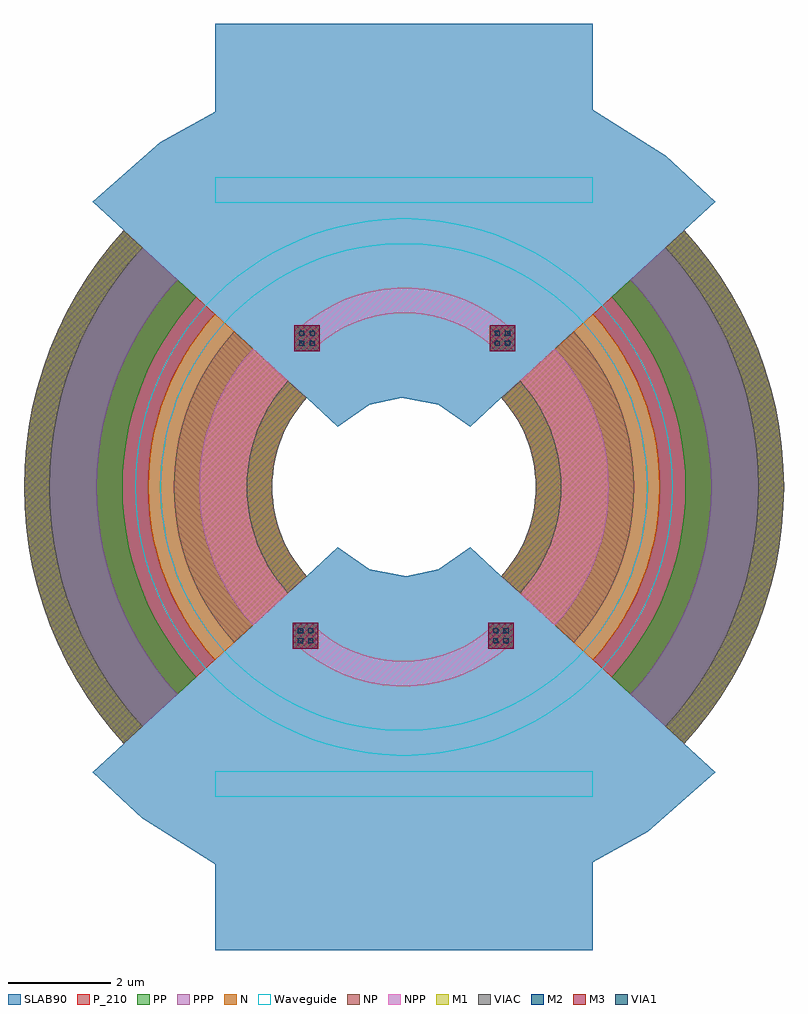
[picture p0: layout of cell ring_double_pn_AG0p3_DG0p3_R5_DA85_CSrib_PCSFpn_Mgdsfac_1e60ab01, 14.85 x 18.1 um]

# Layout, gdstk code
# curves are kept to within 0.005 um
import gdstk
lib = gdstk.Library(unit=1e-6, precision=1e-09)
def R(c, l, rs):  # rectangles x0, y0, x1, y1
    for r in rs: c.add(gdstk.rectangle(r[:2], r[2:], *l))
def P(c, l, *ps):  # polygons
    for p in ps: c.add(gdstk.Polygon(p, *l))
Waveguide = (1, 0)
SLAB90 = (3, 0)
N = (20, 0)
P_210 = (21, 0)
NP = (22, 0)
PP = (23, 0)
NPP = (24, 0)
PPP = (25, 0)
VIAC = (40, 0)
M1 = (41, 0)
VIA1 = (44, 0)
M2 = (45, 0)
M3 = (49, 0)

ring_double_pn_ag0p3_dg0 = lib.new_cell('ring_double_pn_AG0p3_DG0p3_R5_DA85_CSrib_PCSFpn_Mgdsfac_1e60ab01')
R(ring_double_pn_ag0p3_dg0, Waveguide, [(-3.687,-6.05,3.686,-5.55), (-3.687,5.55,3.686,6.05)])
P(ring_double_pn_ag0p3_dg0, Waveguide, [(-0.14,-5.248),(-0.421,-5.233),(-0.7,-5.203),(-0.977,-5.158),(-1.251,-5.099),(-1.522,-5.025),(-1.789,-4.936),(-2.05,-4.833),(-2.305,-4.717),(-2.554,-4.587),(-2.796,-4.444),(-3.029,-4.288),(-3.254,-4.12),(-3.47,-3.94),(-3.676,-3.749),(-3.871,-3.547),(-4.053,-3.337),(-4.224,-3.118),(-4.383,-2.89),(-4.53,-2.653),(-4.664,-2.41),(-4.785,-2.159),(-4.893,-1.903),(-4.987,-1.641),(-5.067,-1.375),(-5.133,-1.104),(-5.184,-0.831),(-5.221,-0.555),(-5.243,-0.278),(-5.25,0),(-5.243,0.278),(-5.221,0.555),(-5.184,0.831),(-5.133,1.104),(-5.067,1.375),(-4.987,1.641),(-4.893,1.903),(-4.785,2.159),(-4.664,2.41),(-4.53,2.653),(-4.383,2.89),(-4.224,3.118),(-4.053,3.337),(-3.871,3.547),(-3.676,3.749),(-3.47,3.94),(-3.254,4.12),(-3.029,4.288),(-2.796,4.444),(-2.554,4.587),(-2.237,4.748),(-0.127,4.748),(-0.381,4.735),(-0.633,4.708),(-0.884,4.667),(-1.132,4.613),(-1.377,4.546),(-1.618,4.466),(-1.855,4.373),(-2.086,4.267),(-2.311,4.15),(-2.53,4.02),(-2.741,3.879),(-2.944,3.727),(-3.139,3.565),(-3.325,3.392),(-3.502,3.209),(-3.667,3.019),(-3.822,2.821),(-3.966,2.614),(-4.099,2.401),(-4.22,2.18),(-4.33,1.954),(-4.427,1.722),(-4.512,1.485),(-4.584,1.244),(-4.644,0.999),(-4.69,0.752),(-4.723,0.502),(-4.743,0.252),(-4.75,0),(-4.743,-0.252),(-4.723,-0.502),(-4.69,-0.752),(-4.644,-0.999),(-4.584,-1.244),(-4.512,-1.485),(-4.427,-1.722),(-4.33,-1.954),(-4.22,-2.18),(-4.099,-2.401),(-3.966,-2.614),(-3.822,-2.821),(-3.667,-3.019),(-3.502,-3.209),(-3.325,-3.392),(-3.139,-3.565),(-2.944,-3.727),(-2.741,-3.879),(-2.53,-4.02),(-2.311,-4.15),(-2.086,-4.267),(-1.855,-4.373),(-1.618,-4.466),(-1.377,-4.546),(-1.132,-4.613),(-0.884,-4.667),(-0.633,-4.708),(-0.381,-4.735),(-0.127,-4.748),(0.127,-4.748),(0.381,-4.735),(0.633,-4.708),(0.884,-4.667),(1.132,-4.613),(1.377,-4.546),(1.618,-4.466),(1.855,-4.373),(2.086,-4.267),(2.311,-4.15),(2.53,-4.02),(2.741,-3.879),(2.944,-3.727),(3.139,-3.565),(3.325,-3.392),(3.502,-3.209),(3.667,-3.019),(3.822,-2.821),(3.966,-2.614),(4.099,-2.401),(4.22,-2.18),(4.33,-1.954),(4.427,-1.722),(4.512,-1.485),(4.584,-1.244),(4.644,-0.999),(4.69,-0.752),(4.723,-0.502),(4.743,-0.252),(4.75,0),(4.743,0.252),(4.723,0.502),(4.69,0.752),(4.644,0.999),(4.584,1.244),(4.512,1.485),(4.427,1.722),(4.33,1.954),(4.22,2.18),(4.099,2.401),(3.966,2.614),(3.822,2.821),(3.667,3.019),(3.502,3.209),(3.325,3.392),(3.139,3.565),(2.944,3.727),(2.741,3.879),(2.53,4.02),(2.311,4.15),(2.086,4.267),(1.855,4.373),(1.618,4.466),(1.377,4.546),(1.132,4.613),(0.884,4.667),(0.633,4.708),(0.381,4.735),(0.127,4.748),(-2.237,4.748),(-2.05,4.833),(-1.789,4.936),(-1.522,5.025),(-1.251,5.099),(-0.977,5.158),(-0.7,5.203),(-0.421,5.233),(-0.14,5.248),(0.14,5.248),(0.421,5.233),(0.7,5.203),(0.977,5.158),(1.251,5.099),(1.522,5.025),(1.789,4.936),(2.05,4.833),(2.305,4.717),(2.554,4.587),(2.796,4.444),(3.029,4.288),(3.254,4.12),(3.47,3.94),(3.676,3.749),(3.871,3.547),(4.053,3.337),(4.224,3.118),(4.383,2.89),(4.53,2.653),(4.664,2.41),(4.785,2.159),(4.893,1.903),(4.987,1.641),(5.067,1.375),(5.133,1.104),(5.184,0.831),(5.221,0.555),(5.243,0.278),(5.25,0),(5.243,-0.278),(5.221,-0.555),(5.184,-0.831),(5.133,-1.104),(5.067,-1.375),(4.987,-1.641),(4.893,-1.903),(4.785,-2.159),(4.664,-2.41),(4.53,-2.653),(4.383,-2.89),(4.224,-3.118),(4.053,-3.337),(3.871,-3.547),(3.676,-3.749),(3.47,-3.94),(3.254,-4.12),(3.029,-4.288),(2.796,-4.444),(2.554,-4.587),(2.305,-4.717),(2.05,-4.833),(1.789,-4.936),(1.522,-5.025),(1.251,-5.099),(0.977,-5.158),(0.7,-5.203),(0.421,-5.233),(0.14,-5.248)])
P(ring_double_pn_ag0p3_dg0, SLAB90, [(-3.687,-9.05),(-3.687,-7.373),(-5.115,-6.475),(-6.083,-5.574),(-5.474,-5.016),(-5.733,-4.72),(-5.975,-4.41),(-6.2,-4.087),(-6.408,-3.753),(-6.597,-3.408),(-6.769,-3.054),(-6.921,-2.691),(-7.054,-2.321),(-7.167,-1.944),(-7.26,-1.562),(-7.332,-1.175),(-7.384,-0.785),(-7.415,-0.393),(-7.426,0),(-7.415,0.393),(-7.384,0.785),(-7.332,1.175),(-7.26,1.562),(-7.215,1.748),(-0.047,1.748),(-0.683,1.61),(-1.29,1.182),(-1.898,1.74),(-2.071,1.529),(-2.149,1.417),(-2.287,1.181),(-2.399,0.933),(-2.445,0.805),(-2.517,0.541),(-2.542,0.407),(-2.571,0.136),(-2.571,-0.136),(-2.56,-0.272),(-2.517,-0.541),(-2.484,-0.674),(-2.445,-0.805),(-2.346,-1.059),(-2.221,-1.301),(-2.149,-1.417),(-2.071,-1.529),(-1.898,-1.74),(-1.29,-1.182),(-0.683,-1.61),(0.047,-1.748),(0.683,-1.61),(1.29,-1.182),(1.898,-1.74),(2.071,-1.529),(2.221,-1.301),(2.346,-1.059),(2.445,-0.805),(2.517,-0.541),(2.542,-0.407),(2.571,-0.136),(2.571,0.136),(2.542,0.407),(2.517,0.541),(2.445,0.805),(2.346,1.059),(2.221,1.301),(2.149,1.417),(2.071,1.529),(1.898,1.74),(1.29,1.182),(0.683,1.61),(-0.047,1.748),(-7.215,1.748),(-7.167,1.944),(-7.054,2.321),(-6.921,2.691),(-6.769,3.054),(-6.597,3.408),(-6.408,3.753),(-6.2,4.087),(-5.975,4.41),(-5.733,4.72),(-5.474,5.016),(-6.083,5.574),(-4.761,6.739),(-3.687,7.337),(-3.687,9.05),(3.686,9.05),(3.686,7.373),(5.115,6.475),(6.083,5.574),(5.474,5.016),(5.733,4.72),(5.975,4.41),(6.2,4.087),(6.408,3.753),(6.597,3.408),(6.769,3.054),(6.921,2.691),(7.054,2.321),(7.167,1.944),(7.26,1.562),(7.332,1.175),(7.384,0.785),(7.415,0.393),(7.426,0),(7.415,-0.393),(7.384,-0.785),(7.332,-1.175),(7.26,-1.562),(7.167,-1.944),(7.054,-2.321),(6.921,-2.691),(6.769,-3.054),(6.597,-3.408),(6.408,-3.753),(6.2,-4.087),(5.975,-4.41),(5.733,-4.72),(5.474,-5.016),(6.083,-5.574),(4.761,-6.739),(3.686,-7.338),(3.686,-9.05)])
P(ring_double_pn_ag0p3_dg0, N, [(-3.686,-3.378),(-3.86,-3.178),(-4.023,-2.969),(-4.175,-2.752),(-4.314,-2.527),(-4.442,-2.295),(-4.558,-2.056),(-4.66,-1.812),(-4.749,-1.563),(-4.826,-1.309),(-4.888,-1.052),(-4.937,-0.791),(-4.972,-0.529),(-4.993,-0.265),(-5,0),(-4.993,0.265),(-4.972,0.529),(-4.937,0.791),(-4.888,1.052),(-4.826,1.309),(-4.749,1.563),(-4.66,1.812),(-4.558,2.056),(-4.442,2.295),(-4.314,2.527),(-4.175,2.752),(-4.023,2.969),(-3.86,3.178),(-3.686,3.378),(-1.898,1.74),(-2.071,1.529),(-2.149,1.417),(-2.287,1.181),(-2.399,0.933),(-2.445,0.805),(-2.517,0.541),(-2.56,0.272),(-2.574,0),(-2.56,-0.272),(-2.517,-0.541),(-2.445,-0.805),(-2.399,-0.933),(-2.287,-1.181),(-2.149,-1.417),(-2.071,-1.529),(-1.898,-1.74)],
  [(3.686,-3.378),(1.898,-1.74),(2.071,-1.529),(2.149,-1.417),(2.287,-1.181),(2.399,-0.933),(2.445,-0.805),(2.517,-0.541),(2.56,-0.272),(2.574,0),(2.56,0.272),(2.517,0.541),(2.445,0.805),(2.399,0.933),(2.287,1.181),(2.149,1.417),(2.071,1.529),(1.898,1.74),(3.686,3.378),(3.86,3.178),(4.023,2.969),(4.175,2.752),(4.314,2.527),(4.442,2.295),(4.558,2.056),(4.66,1.812),(4.749,1.563),(4.826,1.309),(4.888,1.052),(4.937,0.791),(4.972,0.529),(4.993,0.265),(5,0),(4.993,-0.265),(4.972,-0.529),(4.937,-0.791),(4.888,-1.052),(4.826,-1.309),(4.749,-1.563),(4.66,-1.812),(4.558,-2.056),(4.442,-2.295),(4.314,-2.527),(4.175,-2.752),(4.023,-2.969),(3.86,-3.178)])
P(ring_double_pn_ag0p3_dg0, P_210, [(-5.474,-5.016),(-5.733,-4.72),(-5.975,-4.41),(-6.2,-4.087),(-6.408,-3.753),(-6.597,-3.408),(-6.769,-3.054),(-6.921,-2.691),(-7.054,-2.321),(-7.167,-1.944),(-7.26,-1.562),(-7.332,-1.175),(-7.384,-0.785),(-7.415,-0.393),(-7.426,0),(-7.415,0.393),(-7.384,0.785),(-7.332,1.175),(-7.26,1.562),(-7.167,1.944),(-7.054,2.321),(-6.921,2.691),(-6.769,3.054),(-6.597,3.408),(-6.408,3.753),(-6.2,4.087),(-5.975,4.41),(-5.733,4.72),(-5.474,5.016),(-3.686,3.378),(-3.86,3.178),(-4.023,2.969),(-4.175,2.752),(-4.314,2.527),(-4.442,2.295),(-4.558,2.056),(-4.66,1.812),(-4.749,1.563),(-4.826,1.309),(-4.888,1.052),(-4.937,0.791),(-4.972,0.529),(-4.993,0.265),(-5,0),(-4.993,-0.265),(-4.972,-0.529),(-4.937,-0.791),(-4.888,-1.052),(-4.826,-1.309),(-4.749,-1.563),(-4.66,-1.812),(-4.558,-2.056),(-4.442,-2.295),(-4.314,-2.527),(-4.175,-2.752),(-4.023,-2.969),(-3.86,-3.178),(-3.686,-3.378)],
  [(5.474,-5.016),(3.686,-3.378),(3.86,-3.178),(4.023,-2.969),(4.175,-2.752),(4.314,-2.527),(4.442,-2.295),(4.558,-2.056),(4.66,-1.812),(4.749,-1.563),(4.826,-1.309),(4.888,-1.052),(4.937,-0.791),(4.972,-0.529),(4.993,-0.265),(5,0),(4.993,0.265),(4.972,0.529),(4.937,0.791),(4.888,1.052),(4.826,1.309),(4.749,1.563),(4.66,1.812),(4.558,2.056),(4.442,2.295),(4.314,2.527),(4.175,2.752),(4.023,2.969),(3.86,3.178),(3.686,3.378),(5.474,5.016),(5.733,4.72),(5.975,4.41),(6.2,4.087),(6.408,3.753),(6.597,3.408),(6.769,3.054),(6.921,2.691),(7.054,2.321),(7.167,1.944),(7.26,1.562),(7.332,1.175),(7.384,0.785),(7.415,0.393),(7.426,0),(7.415,-0.393),(7.384,-0.785),(7.332,-1.175),(7.26,-1.562),(7.167,-1.944),(7.054,-2.321),(6.921,-2.691),(6.769,-3.054),(6.597,-3.408),(6.408,-3.753),(6.2,-4.087),(5.975,-4.41),(5.733,-4.72)])
P(ring_double_pn_ag0p3_dg0, NP, [(-3.318,-3.04),(-3.474,-2.86),(-3.621,-2.672),(-3.757,-2.477),(-3.883,-2.274),(-3.998,-2.065),(-4.102,-1.851),(-4.194,-1.631),(-4.274,-1.407),(-4.343,-1.178),(-4.399,-0.947),(-4.443,-0.712),(-4.475,-0.476),(-4.494,-0.238),(-4.5,0),(-4.494,0.238),(-4.475,0.476),(-4.443,0.712),(-4.399,0.947),(-4.343,1.178),(-4.274,1.407),(-4.194,1.631),(-4.102,1.851),(-3.998,2.065),(-3.883,2.274),(-3.757,2.477),(-3.621,2.672),(-3.474,2.86),(-3.318,3.04),(-1.898,1.74),(-2.071,1.529),(-2.149,1.417),(-2.287,1.181),(-2.399,0.933),(-2.445,0.805),(-2.517,0.541),(-2.56,0.272),(-2.574,0),(-2.56,-0.272),(-2.517,-0.541),(-2.445,-0.805),(-2.399,-0.933),(-2.287,-1.181),(-2.149,-1.417),(-2.071,-1.529),(-1.898,-1.74)],
  [(3.318,-3.04),(1.898,-1.74),(2.071,-1.529),(2.149,-1.417),(2.287,-1.181),(2.399,-0.933),(2.445,-0.805),(2.517,-0.541),(2.56,-0.272),(2.574,0),(2.56,0.272),(2.517,0.541),(2.445,0.805),(2.399,0.933),(2.287,1.181),(2.149,1.417),(2.071,1.529),(1.898,1.74),(3.318,3.04),(3.474,2.86),(3.621,2.672),(3.757,2.477),(3.883,2.274),(3.998,2.065),(4.102,1.851),(4.194,1.631),(4.274,1.407),(4.343,1.178),(4.399,0.947),(4.443,0.712),(4.475,0.476),(4.494,0.238),(4.5,0),(4.494,-0.238),(4.475,-0.476),(4.443,-0.712),(4.399,-0.947),(4.343,-1.178),(4.274,-1.407),(4.194,-1.631),(4.102,-1.851),(3.998,-2.065),(3.883,-2.274),(3.757,-2.477),(3.621,-2.672),(3.474,-2.86)])
P(ring_double_pn_ag0p3_dg0, PP, [(-5.474,-5.016),(-5.733,-4.72),(-5.975,-4.41),(-6.2,-4.087),(-6.408,-3.753),(-6.597,-3.408),(-6.769,-3.054),(-6.921,-2.691),(-7.054,-2.321),(-7.167,-1.944),(-7.26,-1.562),(-7.332,-1.175),(-7.384,-0.785),(-7.415,-0.393),(-7.426,0),(-7.415,0.393),(-7.384,0.785),(-7.332,1.175),(-7.26,1.562),(-7.167,1.944),(-7.054,2.321),(-6.921,2.691),(-6.769,3.054),(-6.597,3.408),(-6.408,3.753),(-6.2,4.087),(-5.975,4.41),(-5.733,4.72),(-5.474,5.016),(-4.055,3.716),(-4.246,3.496),(-4.425,3.266),(-4.592,3.027),(-4.746,2.78),(-4.887,2.524),(-5.013,2.262),(-5.126,1.993),(-5.225,1.719),(-5.308,1.44),(-5.377,1.157),(-5.431,0.871),(-5.469,0.582),(-5.492,0.291),(-5.5,0),(-5.492,-0.291),(-5.469,-0.582),(-5.431,-0.871),(-5.377,-1.157),(-5.308,-1.44),(-5.225,-1.719),(-5.126,-1.993),(-5.013,-2.262),(-4.887,-2.524),(-4.746,-2.78),(-4.592,-3.027),(-4.425,-3.266),(-4.246,-3.496),(-4.055,-3.716)],
  [(5.474,-5.016),(4.055,-3.716),(4.246,-3.496),(4.425,-3.266),(4.592,-3.027),(4.746,-2.78),(4.887,-2.524),(5.013,-2.262),(5.126,-1.993),(5.225,-1.719),(5.308,-1.44),(5.377,-1.157),(5.431,-0.871),(5.469,-0.582),(5.492,-0.291),(5.5,0),(5.492,0.291),(5.469,0.582),(5.431,0.871),(5.377,1.157),(5.308,1.44),(5.225,1.719),(5.126,1.993),(5.013,2.262),(4.887,2.524),(4.746,2.78),(4.592,3.027),(4.425,3.266),(4.246,3.496),(4.055,3.716),(5.474,5.016),(5.733,4.72),(5.975,4.41),(6.2,4.087),(6.408,3.753),(6.597,3.408),(6.769,3.054),(6.921,2.691),(7.054,2.321),(7.167,1.944),(7.26,1.562),(7.332,1.175),(7.384,0.785),(7.415,0.393),(7.426,0),(7.415,-0.393),(7.384,-0.785),(7.332,-1.175),(7.26,-1.562),(7.167,-1.944),(7.054,-2.321),(6.921,-2.691),(6.769,-3.054),(6.597,-3.408),(6.408,-3.753),(6.2,-4.087),(5.975,-4.41),(5.733,-4.72)])
P(ring_double_pn_ag0p3_dg0, NPP, [(-0.149,-3.897),(-0.416,-3.873),(-0.68,-3.827),(-0.939,-3.757),(-1.191,-3.666),(-1.434,-3.552),(-1.667,-3.418),(-1.887,-3.264),(-2.092,-3.091),(-1.754,-2.723),(-1.582,-2.867),(-1.398,-2.996),(-1.204,-3.108),(-0.999,-3.203),(-0.789,-3.28),(-0.572,-3.338),(-0.35,-3.377),(-0.127,-3.396),(0.098,-3.397),(0.321,-3.377),(0.543,-3.338),(0.76,-3.28),(0.971,-3.203),(1.174,-3.108),(1.369,-2.995),(1.553,-2.867),(1.725,-2.722),(2.063,-3.091),(1.858,-3.264),(1.637,-3.418),(1.406,-3.552),(1.162,-3.666),(0.91,-3.757),(0.651,-3.827),(0.387,-3.873),(0.12,-3.897)],
  [(-2.949,-2.702),(-3.088,-2.542),(-3.218,-2.375),(-3.339,-2.201),(-3.451,-2.021),(-3.553,-1.836),(-3.646,-1.645),(-3.728,-1.45),(-3.799,-1.25),(-3.86,-1.047),(-3.91,-0.841),(-3.949,-0.633),(-3.977,-0.423),(-3.994,-0.212),(-4,0),(-3.994,0.212),(-3.977,0.423),(-3.949,0.633),(-3.91,0.841),(-3.86,1.047),(-3.799,1.25),(-3.728,1.45),(-3.646,1.645),(-3.553,1.836),(-3.451,2.021),(-3.339,2.201),(-3.218,2.375),(-3.088,2.542),(-2.949,2.702),(-1.898,1.74),(-2.071,1.529),(-2.149,1.417),(-2.287,1.181),(-2.399,0.933),(-2.445,0.805),(-2.517,0.541),(-2.56,0.272),(-2.574,0),(-2.56,-0.272),(-2.517,-0.541),(-2.445,-0.805),(-2.399,-0.933),(-2.287,-1.181),(-2.149,-1.417),(-2.071,-1.529),(-1.898,-1.74)],
  [(2.949,-2.702),(1.898,-1.74),(2.071,-1.529),(2.149,-1.417),(2.287,-1.181),(2.399,-0.933),(2.445,-0.805),(2.517,-0.541),(2.56,-0.272),(2.574,0),(2.56,0.272),(2.517,0.541),(2.445,0.805),(2.399,0.933),(2.287,1.181),(2.149,1.417),(2.071,1.529),(1.898,1.74),(2.949,2.702),(3.088,2.542),(3.218,2.375),(3.339,2.201),(3.451,2.021),(3.553,1.836),(3.646,1.645),(3.728,1.45),(3.799,1.25),(3.86,1.047),(3.91,0.841),(3.949,0.633),(3.977,0.423),(3.994,0.212),(4,0),(3.994,-0.212),(3.977,-0.423),(3.949,-0.633),(3.91,-0.841),(3.86,-1.047),(3.799,-1.25),(3.728,-1.45),(3.646,-1.645),(3.553,-1.836),(3.451,-2.021),(3.339,-2.201),(3.218,-2.375),(3.088,-2.542)],
  [(-1.726,2.722),(-2.064,3.091),(-1.859,3.264),(-1.638,3.418),(-1.407,3.552),(-1.163,3.666),(-0.911,3.757),(-0.652,3.827),(-0.388,3.873),(-0.121,3.897),(0.148,3.897),(0.415,3.873),(0.679,3.827),(0.938,3.757),(1.19,3.666),(1.433,3.552),(1.666,3.418),(1.886,3.264),(2.091,3.091),(1.753,2.723),(1.581,2.867),(1.397,2.996),(1.203,3.108),(0.998,3.203),(0.788,3.28),(0.571,3.338),(0.349,3.377),(0.126,3.396),(-0.099,3.397),(-0.322,3.377),(-0.544,3.338),(-0.761,3.28),(-0.972,3.203),(-1.175,3.108),(-1.37,2.995),(-1.554,2.867)])
P(ring_double_pn_ag0p3_dg0, PPP, [(-5.474,-5.016),(-5.733,-4.72),(-5.975,-4.41),(-6.2,-4.087),(-6.408,-3.753),(-6.597,-3.408),(-6.769,-3.054),(-6.921,-2.691),(-7.054,-2.321),(-7.167,-1.944),(-7.26,-1.562),(-7.332,-1.175),(-7.384,-0.785),(-7.415,-0.393),(-7.426,0),(-7.415,0.393),(-7.384,0.785),(-7.332,1.175),(-7.26,1.562),(-7.167,1.944),(-7.054,2.321),(-6.921,2.691),(-6.769,3.054),(-6.597,3.408),(-6.408,3.753),(-6.2,4.087),(-5.975,4.41),(-5.733,4.72),(-5.474,5.016),(-4.424,4.054),(-4.632,3.814),(-4.828,3.563),(-5.01,3.302),(-5.178,3.033),(-5.331,2.754),(-5.469,2.468),(-5.592,2.175),(-5.7,1.876),(-5.791,1.571),(-5.866,1.262),(-5.925,0.95),(-5.967,0.635),(-5.992,0.318),(-6,0),(-5.992,-0.318),(-5.967,-0.635),(-5.925,-0.95),(-5.866,-1.262),(-5.791,-1.571),(-5.7,-1.876),(-5.592,-2.175),(-5.469,-2.468),(-5.331,-2.754),(-5.178,-3.033),(-5.01,-3.302),(-4.828,-3.563),(-4.632,-3.814),(-4.424,-4.054)],
  [(5.474,-5.016),(4.424,-4.054),(4.632,-3.814),(4.828,-3.563),(5.01,-3.302),(5.178,-3.033),(5.331,-2.754),(5.469,-2.468),(5.592,-2.175),(5.7,-1.876),(5.791,-1.571),(5.866,-1.262),(5.925,-0.95),(5.967,-0.635),(5.992,-0.318),(6,0),(5.992,0.318),(5.967,0.635),(5.925,0.95),(5.866,1.262),(5.791,1.571),(5.7,1.876),(5.592,2.175),(5.469,2.468),(5.331,2.754),(5.178,3.033),(5.01,3.302),(4.828,3.563),(4.632,3.814),(4.424,4.054),(5.474,5.016),(5.733,4.72),(5.975,4.41),(6.2,4.087),(6.408,3.753),(6.597,3.408),(6.769,3.054),(6.921,2.691),(7.054,2.321),(7.167,1.944),(7.26,1.562),(7.332,1.175),(7.384,0.785),(7.415,0.393),(7.426,0),(7.415,-0.393),(7.384,-0.785),(7.332,-1.175),(7.26,-1.562),(7.167,-1.944),(7.054,-2.321),(6.921,-2.691),(6.769,-3.054),(6.597,-3.408),(6.408,-3.753),(6.2,-4.087),(5.975,-4.41),(5.733,-4.72)])
R(ring_double_pn_ag0p3_dg0, VIAC, [(-2.073,-3.057,-1.973,-2.957), (-1.873,-3.057,-1.773,-2.957), (1.744,-3.057,1.844,-2.957), (1.944,-3.057,2.044,-2.957), (-2.073,-2.857,-1.973,-2.757), (-1.873,-2.857,-1.773,-2.757), (1.744,-2.857,1.844,-2.757), (1.944,-2.857,2.044,-2.757), (-2.045,2.757,-1.945,2.857), (-1.845,2.757,-1.745,2.857), (1.772,2.757,1.872,2.857), (1.972,2.757,2.072,2.857), (-2.045,2.957,-1.945,3.057), (-1.845,2.957,-1.745,3.057), (1.772,2.957,1.872,3.057), (1.972,2.957,2.072,3.057)])
P(ring_double_pn_ag0p3_dg0, VIAC, [(-2.267,-2.077),(-2.474,-1.826),(-2.653,-1.554),(-2.802,-1.264),(-2.865,-1.114),(-2.92,-0.961),(-3.006,-0.647),(-3.057,-0.325),(-3.074,0),(-3.057,0.325),(-3.006,0.647),(-2.92,0.961),(-2.865,1.114),(-2.802,1.264),(-2.653,1.554),(-2.474,1.826),(-2.267,2.077),(-1.898,1.74),(-2.071,1.529),(-2.149,1.417),(-2.221,1.301),(-2.346,1.059),(-2.445,0.805),(-2.484,0.674),(-2.517,0.541),(-2.56,0.272),(-2.574,0),(-2.56,-0.272),(-2.517,-0.541),(-2.445,-0.805),(-2.346,-1.059),(-2.221,-1.301),(-2.071,-1.529),(-1.898,-1.74)],
  [(2.267,-2.077),(1.898,-1.74),(2.071,-1.529),(2.149,-1.417),(2.221,-1.301),(2.346,-1.059),(2.445,-0.805),(2.484,-0.674),(2.517,-0.541),(2.56,-0.272),(2.574,0),(2.56,0.272),(2.517,0.541),(2.445,0.805),(2.346,1.059),(2.221,1.301),(2.071,1.529),(1.898,1.74),(2.267,2.077),(2.474,1.826),(2.653,1.554),(2.802,1.264),(2.865,1.114),(2.92,0.961),(3.006,0.647),(3.057,0.325),(3.074,0),(3.057,-0.325),(3.006,-0.647),(2.92,-0.961),(2.865,-1.114),(2.802,-1.264),(2.653,-1.554),(2.474,-1.826)],
  [(-5.474,-5.016),(-5.733,-4.72),(-5.975,-4.41),(-6.2,-4.087),(-6.408,-3.753),(-6.597,-3.408),(-6.769,-3.054),(-6.921,-2.691),(-7.054,-2.321),(-7.167,-1.944),(-7.26,-1.562),(-7.332,-1.175),(-7.384,-0.785),(-7.415,-0.393),(-7.426,0),(-7.415,0.393),(-7.384,0.785),(-7.332,1.175),(-7.26,1.562),(-7.167,1.944),(-7.054,2.321),(-6.921,2.691),(-6.769,3.054),(-6.597,3.408),(-6.408,3.753),(-6.2,4.087),(-5.975,4.41),(-5.733,4.72),(-5.474,5.016),(-5.106,4.678),(-5.347,4.402),(-5.572,4.113),(-5.782,3.812),(-5.976,3.5),(-6.153,3.179),(-6.313,2.848),(-6.455,2.51),(-6.579,2.165),(-6.684,1.813),(-6.771,1.457),(-6.838,1.096),(-6.887,0.733),(-6.916,0.367),(-6.926,0),(-6.916,-0.367),(-6.887,-0.733),(-6.838,-1.096),(-6.771,-1.457),(-6.684,-1.813),(-6.579,-2.165),(-6.455,-2.51),(-6.313,-2.848),(-6.153,-3.179),(-5.976,-3.5),(-5.782,-3.812),(-5.572,-4.113),(-5.347,-4.402),(-5.106,-4.678)],
  [(5.474,-5.016),(5.106,-4.678),(5.347,-4.402),(5.572,-4.113),(5.782,-3.812),(5.976,-3.5),(6.153,-3.179),(6.313,-2.848),(6.455,-2.51),(6.579,-2.165),(6.684,-1.813),(6.771,-1.457),(6.838,-1.096),(6.887,-0.733),(6.916,-0.367),(6.926,0),(6.916,0.367),(6.887,0.733),(6.838,1.096),(6.771,1.457),(6.684,1.813),(6.579,2.165),(6.455,2.51),(6.313,2.848),(6.153,3.179),(5.976,3.5),(5.782,3.812),(5.572,4.113),(5.347,4.402),(5.106,4.678),(5.474,5.016),(5.733,4.72),(5.975,4.41),(6.2,4.087),(6.408,3.753),(6.597,3.408),(6.769,3.054),(6.921,2.691),(7.054,2.321),(7.167,1.944),(7.26,1.562),(7.332,1.175),(7.384,0.785),(7.415,0.393),(7.426,0),(7.415,-0.393),(7.384,-0.785),(7.332,-1.175),(7.26,-1.562),(7.167,-1.944),(7.054,-2.321),(6.921,-2.691),(6.769,-3.054),(6.597,-3.408),(6.408,-3.753),(6.2,-4.087),(5.975,-4.41),(5.733,-4.72)])
R(ring_double_pn_ag0p3_dg0, M1, [(-2.173,-3.157,-1.673,-2.657), (1.644,-3.157,2.144,-2.657), (-2.145,2.657,-1.645,3.157), (1.672,2.657,2.172,3.157)])
P(ring_double_pn_ag0p3_dg0, M1, [(-2.267,-2.077),(-2.474,-1.826),(-2.653,-1.554),(-2.802,-1.264),(-2.865,-1.114),(-2.92,-0.961),(-3.006,-0.647),(-3.057,-0.325),(-3.074,0),(-3.057,0.325),(-3.006,0.647),(-2.92,0.961),(-2.865,1.114),(-2.802,1.264),(-2.653,1.554),(-2.474,1.826),(-2.267,2.077),(-1.898,1.74),(-2.071,1.529),(-2.149,1.417),(-2.221,1.301),(-2.346,1.059),(-2.445,0.805),(-2.484,0.674),(-2.517,0.541),(-2.56,0.272),(-2.574,0),(-2.56,-0.272),(-2.517,-0.541),(-2.445,-0.805),(-2.346,-1.059),(-2.221,-1.301),(-2.071,-1.529),(-1.898,-1.74)],
  [(2.267,-2.077),(1.898,-1.74),(2.071,-1.529),(2.149,-1.417),(2.221,-1.301),(2.346,-1.059),(2.445,-0.805),(2.484,-0.674),(2.517,-0.541),(2.56,-0.272),(2.574,0),(2.56,0.272),(2.517,0.541),(2.445,0.805),(2.346,1.059),(2.221,1.301),(2.071,1.529),(1.898,1.74),(2.267,2.077),(2.474,1.826),(2.653,1.554),(2.802,1.264),(2.865,1.114),(2.92,0.961),(3.006,0.647),(3.057,0.325),(3.074,0),(3.057,-0.325),(3.006,-0.647),(2.92,-0.961),(2.865,-1.114),(2.802,-1.264),(2.653,-1.554),(2.474,-1.826)],
  [(-5.474,-5.016),(-5.733,-4.72),(-5.975,-4.41),(-6.2,-4.087),(-6.408,-3.753),(-6.597,-3.408),(-6.769,-3.054),(-6.921,-2.691),(-7.054,-2.321),(-7.167,-1.944),(-7.26,-1.562),(-7.332,-1.175),(-7.384,-0.785),(-7.415,-0.393),(-7.426,0),(-7.415,0.393),(-7.384,0.785),(-7.332,1.175),(-7.26,1.562),(-7.167,1.944),(-7.054,2.321),(-6.921,2.691),(-6.769,3.054),(-6.597,3.408),(-6.408,3.753),(-6.2,4.087),(-5.975,4.41),(-5.733,4.72),(-5.474,5.016),(-5.106,4.678),(-5.347,4.402),(-5.572,4.113),(-5.782,3.812),(-5.976,3.5),(-6.153,3.179),(-6.313,2.848),(-6.455,2.51),(-6.579,2.165),(-6.684,1.813),(-6.771,1.457),(-6.838,1.096),(-6.887,0.733),(-6.916,0.367),(-6.926,0),(-6.916,-0.367),(-6.887,-0.733),(-6.838,-1.096),(-6.771,-1.457),(-6.684,-1.813),(-6.579,-2.165),(-6.455,-2.51),(-6.313,-2.848),(-6.153,-3.179),(-5.976,-3.5),(-5.782,-3.812),(-5.572,-4.113),(-5.347,-4.402),(-5.106,-4.678)],
  [(5.474,-5.016),(5.106,-4.678),(5.347,-4.402),(5.572,-4.113),(5.782,-3.812),(5.976,-3.5),(6.153,-3.179),(6.313,-2.848),(6.455,-2.51),(6.579,-2.165),(6.684,-1.813),(6.771,-1.457),(6.838,-1.096),(6.887,-0.733),(6.916,-0.367),(6.926,0),(6.916,0.367),(6.887,0.733),(6.838,1.096),(6.771,1.457),(6.684,1.813),(6.579,2.165),(6.455,2.51),(6.313,2.848),(6.153,3.179),(5.976,3.5),(5.782,3.812),(5.572,4.113),(5.347,4.402),(5.106,4.678),(5.474,5.016),(5.733,4.72),(5.975,4.41),(6.2,4.087),(6.408,3.753),(6.597,3.408),(6.769,3.054),(6.921,2.691),(7.054,2.321),(7.167,1.944),(7.26,1.562),(7.332,1.175),(7.384,0.785),(7.415,0.393),(7.426,0),(7.415,-0.393),(7.384,-0.785),(7.332,-1.175),(7.26,-1.562),(7.167,-1.944),(7.054,-2.321),(6.921,-2.691),(6.769,-3.054),(6.597,-3.408),(6.408,-3.753),(6.2,-4.087),(5.975,-4.41),(5.733,-4.72)])
R(ring_double_pn_ag0p3_dg0, VIA1, [(-2.073,-3.057,-1.973,-2.957), (-1.873,-3.057,-1.773,-2.957), (1.744,-3.057,1.844,-2.957), (1.944,-3.057,2.044,-2.957), (-2.073,-2.857,-1.973,-2.757), (-1.873,-2.857,-1.773,-2.757), (1.744,-2.857,1.844,-2.757), (1.944,-2.857,2.044,-2.757), (-2.045,2.757,-1.945,2.857), (-1.845,2.757,-1.745,2.857), (1.772,2.757,1.872,2.857), (1.972,2.757,2.072,2.857), (-2.045,2.957,-1.945,3.057), (-1.845,2.957,-1.745,3.057), (1.772,2.957,1.872,3.057), (1.972,2.957,2.072,3.057)])
R(ring_double_pn_ag0p3_dg0, M2, [(-2.173,-3.157,-1.673,-2.657), (1.644,-3.157,2.144,-2.657), (-2.145,2.657,-1.645,3.157), (1.672,2.657,2.172,3.157)])
R(ring_double_pn_ag0p3_dg0, M3, [(-2.173,-3.157,-1.673,-2.657), (1.644,-3.157,2.144,-2.657), (-2.145,2.657,-1.645,3.157), (1.672,2.657,2.172,3.157)])

lib.write_gds('ring_double_pn_AG0p3_DG0p3_R5_DA85_CSrib_PCSFpn_Mgdsfac_1e60ab01.gds')
